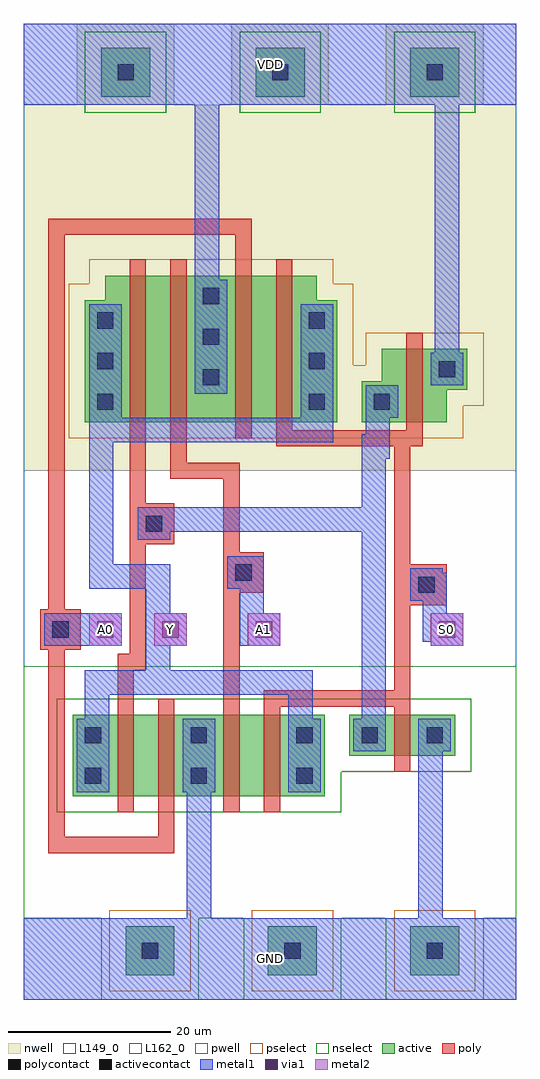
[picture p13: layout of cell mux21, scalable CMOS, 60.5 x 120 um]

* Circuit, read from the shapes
.subckt mux21 A0 A1 GND S0 VDD Y
M1 n1 n2 Y GND nfet w=10u l=2u
M2 GND A0 n1 GND nfet w=10u l=2u
M3 n3 A1 GND GND nfet w=10u l=2u
M4 Y S0 n3 GND nfet w=10u l=2u
M5 GND S0 n2 GND nfet w=5u l=2u
M6 n4 n2 Y VDD pfet w=18u l=2u
M7 VDD A1 n4 VDD pfet w=18u l=2u
M8 n5 A0 VDD VDD pfet w=18u l=2u
M9 Y S0 n5 VDD pfet w=18u l=2u
M10 VDD S0 n2 VDD pfet w=9u l=2u
.ends

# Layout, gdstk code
from math import pi, radians
import gdstk
lib = gdstk.Library(unit=1e-6, precision=1e-09)
def R(c, l, rs):  # rectangles x0, y0, x1, y1
    for r in rs: c.add(gdstk.rectangle(r[:2], r[2:], *l))
def A(c, l, x, y, w, h, nx, ny, dx, dy):  # array of equal rectangles
    R(c, l, [(x+i*dx, y+j*dy, x+i*dx+w, y+j*dy+h) for i in range(nx) for j in range(ny)])
def P(c, l, *ps):  # polygons
    for p in ps: c.add(gdstk.Polygon(p, *l))
pwell = (41, 0)
nwell = (42, 0)
active = (43, 0)
pselect = (44, 0)
nselect = (45, 0)
poly = (46, 0)
polycontact = (47, 0)
activecontact = (48, 0)
metal1 = (49, 0)
via1 = (50, 0)
metal2 = (51, 0)
L149_0 = (149, 0)
L162_0 = (162, 0)

nwell_contact = lib.new_cell('nwell_contact')
R(nwell_contact, nwell, [(-6,-5,6,6)])
R(nwell_contact, active, [(-3,-3,3,3)])
R(nwell_contact, nselect, [(-5,-5,5,5)])
R(nwell_contact, activecontact, [(-1,-1,1,1)])

pwell_contact = lib.new_cell('pwell_contact')
R(pwell_contact, pwell, [(-6,-6,6,5)])
R(pwell_contact, active, [(-3,-3,3,3)])
R(pwell_contact, pselect, [(-5,-5,5,5)])
R(pwell_contact, activecontact, [(-1,-1,1,1)])

via = lib.new_cell('via')
R(via, metal1, [(-2,-2,2,2)])
R(via, via1, [(-1,-1,1,1)])
R(via, metal2, [(-2,-2,2,2)])

mux21 = lib.new_cell('mux21')
R(mux21, pwell, [(0,10,60.5,20), (0,10,60.5,41), (0,19,43,41), (34,24,59,41)])
R(mux21, nwell, [(0,65,60.5,110), (0,95,60.5,110)])
P(mux21, nwell, [(60.5,69),(58,69),(58,65),(35.5,65),(35.5,82),(38,82),(38,86),(60.5,86)],
  [(44.5,65),(1.5,65),(1.5,92),(4,92),(4,95),(42,95),(42,92),(44.5,92)])
R(mux21, active, [(6,25,37,35), (40,30,53,35)])
P(mux21, active, [(54.5,75),(52,75),(52,71),(41.5,71),(41.5,76),(44,76),(44,80),(54.5,80)],
  [(38.5,71),(7.5,71),(7.5,86),(10,86),(10,89),(36,89),(36,86),(38.5,86)])
P(mux21, pselect, [(56.5,73),(54,73),(54,69),(39.5,69),(39.5,78),(42,78),(42,82),(56.5,82)],
  [(40.5,69),(5.5,69),(5.5,88),(8,88),(8,91),(38,91),(38,88),(40.5,88)])
R(mux21, nselect, [(4,23,39,37), (38,28,55,37)])
R(mux21, poly, [(11.5,23,13.5,25), (16.5,23,18.5,25), (24.5,23,26.5,25), (29.5,23,31.5,25), (11.5,25,13.5,35), (16.5,25,18.5,35), (24.5,25,26.5,35), (29.5,25,31.5,35), (45.5,28,47.5,30), (45.5,30,47.5,35), (11.5,35,13.5,37), (16.5,35,18.5,37), (24.5,35,26.5,37), (29.5,35,31.5,37), (45.5,35,47.5,37), (2,43,7,48), (47,48.5,52,53.5), (24.5,50,29.5,55), (13.5,56,18.5,61), (13,69,15,71), (18,69,20,71), (26,69,28,71), (31,69,33,71), (47,69,49,71), (13,71,15,89), (18,71,20,89), (26,71,28,89), (31,71,33,89), (47,71,49,80), (47,80,49,82), (13,89,15,91), (18,89,20,91), (26,89,28,91), (31,89,33,91)])
R(mux21, polycontact, [(3.5,44.5,5.5,46.5), (48.5,50,50.5,52), (26,51.5,28,53.5), (15,57.5,17,59.5)])
A(mux21, activecontact, 7.5, 26.5, 2, 2, 3, 2, 13, 5)
A(mux21, activecontact, 9, 72.5, 2, 2, 1, 3, 0, 5)
A(mux21, activecontact, 35, 72.5, 2, 2, 1, 3, 0, 5)
A(mux21, activecontact, 22, 75.5, 2, 2, 1, 3, 0, 5)
R(mux21, activecontact, [(41.5,31.5,43.5,33.5), (49.5,31.5,51.5,33.5), (43,72.5,45,74.5), (51,76.5,53,78.5)])
A(mux21, metal1, 6.5, 25.5, 4, 9, 3, 1, 13, 0)
R(mux21, metal1, [(0,0,60.5,10), (0,0,60.5,10), (40.5,30.5,44.5,34.5), (48.5,30.5,52.5,34.5), (2.5,43.5,6.5,47.5), (47.5,49,51.5,53), (25,50.5,29,54.5), (14,56.5,18,60.5), (8,71.5,12,85.5), (34,71.5,38,85.5), (42,71.5,46,75.5), (21,74.5,25,88.5), (50,75.5,54,79.5), (0,110,60.5,120), (0,110,60.5,120)])
R(mux21, metal2, [(8,43.5,12,47.5), (16,43.5,20,47.5), (27.5,43.5,31.5,47.5), (50,43.5,54,47.5)])
R(mux21, L149_0, [(0,0,60.5,10), (0,0,60.5,10), (0,0,60.5,120), (2.5,43.5,6.5,47.5), (47.5,49,51.5,53), (25,50.5,29,54.5), (14,56.5,18,60.5), (0,110,60.5,120), (0,110,60.5,120)])
R(mux21, L162_0, [(8,43.5,12,47.5), (16,43.5,20,47.5), (27.5,43.5,31.5,47.5), (50,43.5,54,47.5)])
mux21.add(gdstk.FlexPath([(50.5,52.5),(50.5,44)], 3, ends="flush", simple_path=True, layer=149, datatype=0))  # L149_0
mux21.add(gdstk.FlexPath([(9,34.5),(9,39),(34,39),(34,34.5)], 3, ends="flush", simple_path=True, layer=149, datatype=0))  # L149_0
mux21.add(gdstk.FlexPath([(21.5,25.5),(21.5,10)], 3, ends="flush", simple_path=True, layer=149, datatype=0))  # L149_0
mux21.add(gdstk.FlexPath([(43.5,71.5),(43.5,68),(43,68),(43,34.5)], 3, ends="flush", simple_path=True, layer=149, datatype=0))  # L149_0
mux21.add(gdstk.FlexPath([(22.5,88.5),(22.5,110)], 3, ends="flush", simple_path=True, layer=149, datatype=0))  # L149_0
mux21.add(gdstk.FlexPath([(6.5,45),(8,45)], 3, ends="flush", simple_path=True, layer=149, datatype=0))  # L149_0
mux21.add(gdstk.FlexPath([(18,59),(41.5,59)], 3, ends="flush", simple_path=True, layer=149, datatype=0))  # L149_0
mux21.add(gdstk.FlexPath([(9.5,68.5),(9.5,52),(16.5,52),(16.5,40.5)], 3, ends="flush", simple_path=True, layer=149, datatype=0))  # L149_0
mux21.add(gdstk.FlexPath([(9.5,71.5),(9.5,70),(36.5,70),(36.5,71.5)], 3, ends="flush", simple_path=True, layer=149, datatype=0))  # L149_0
mux21.add(gdstk.FlexPath([(28,43.5),(28,54.5)], 3, ends="flush", simple_path=True, layer=149, datatype=0))  # L149_0
mux21.add(gdstk.FlexPath([(6.5,46),(8,46)], 3, ends="flush", simple_path=True, layer=149, datatype=0))  # L149_0
mux21.add(gdstk.FlexPath([(52,79.5),(52,110)], 3, ends="flush", simple_path=True, layer=149, datatype=0))  # L149_0
mux21.add(gdstk.FlexPath([(50,30.5),(50,10)], 3, ends="flush", simple_path=True, layer=149, datatype=0))  # L149_0
mux21.add(gdstk.FlexPath([(19,69),(19,65),(25.5,65),(25.5,37)], 2, ends="flush", simple_path=True, layer=46, datatype=0))  # poly
mux21.add(gdstk.FlexPath([(27,91),(27,95),(4,95),(4,19),(17.5,19),(17.5,23)], 2, ends="flush", simple_path=True, layer=46, datatype=0))  # poly
mux21.add(gdstk.FlexPath([(14,69),(14,41.5),(12.5,41.5),(12.5,37)], 2, ends="flush", simple_path=True, layer=46, datatype=0))  # poly
mux21.add(gdstk.FlexPath([(46.5,69),(49,69)], 2, ends="flush", simple_path=True, layer=46, datatype=0))  # poly
mux21.add(gdstk.FlexPath([(29.5,37),(46.5,37),(46.5,69),(31,69)], 2, ends="flush", simple_path=True, layer=46, datatype=0))  # poly
mux21.add(gdstk.FlexPath([(50.5,52.5),(50.5,44)], 3, ends="flush", simple_path=True, layer=49, datatype=0))  # metal1
mux21.add(gdstk.FlexPath([(9,34.5),(9,39),(34,39),(34,34.5)], 3, ends="flush", simple_path=True, layer=49, datatype=0))  # metal1
mux21.add(gdstk.FlexPath([(21.5,25.5),(21.5,10)], 3, ends="flush", simple_path=True, layer=49, datatype=0))  # metal1
mux21.add(gdstk.FlexPath([(43.5,71.5),(43.5,68),(43,68),(43,34.5)], 3, ends="flush", simple_path=True, layer=49, datatype=0))  # metal1
mux21.add(gdstk.FlexPath([(22.5,88.5),(22.5,110)], 3, ends="flush", simple_path=True, layer=49, datatype=0))  # metal1
mux21.add(gdstk.FlexPath([(6.5,45),(8,45)], 3, ends="flush", simple_path=True, layer=49, datatype=0))  # metal1
mux21.add(gdstk.FlexPath([(18,59),(41.5,59)], 3, ends="flush", simple_path=True, layer=49, datatype=0))  # metal1
mux21.add(gdstk.FlexPath([(9.5,68.5),(9.5,52),(16.5,52),(16.5,40.5)], 3, ends="flush", simple_path=True, layer=49, datatype=0))  # metal1
mux21.add(gdstk.FlexPath([(9.5,71.5),(9.5,70),(36.5,70),(36.5,71.5)], 3, ends="flush", simple_path=True, layer=49, datatype=0))  # metal1
mux21.add(gdstk.FlexPath([(28,43.5),(28,54.5)], 3, ends="flush", simple_path=True, layer=49, datatype=0))  # metal1
mux21.add(gdstk.FlexPath([(6.5,46),(8,46)], 3, ends="flush", simple_path=True, layer=49, datatype=0))  # metal1
mux21.add(gdstk.FlexPath([(52,79.5),(52,110)], 3, ends="flush", simple_path=True, layer=49, datatype=0))  # metal1
mux21.add(gdstk.FlexPath([(50,30.5),(50,10)], 3, ends="flush", simple_path=True, layer=49, datatype=0))  # metal1
mux21.add(gdstk.Reference(nwell_contact, (31.5,114), rotation=pi, x_reflection=True))
mux21.add(gdstk.Reference(nwell_contact, (50.5,114)))
mux21.add(gdstk.Reference(nwell_contact, (12.5,114)))
mux21.add(gdstk.Reference(pwell_contact, (33,6), rotation=pi, x_reflection=True))
mux21.add(gdstk.Reference(pwell_contact, (50.5,6)))
mux21.add(gdstk.Reference(pwell_contact, (15.5,6)))
mux21.add(gdstk.Reference(via, (10,45.5)))
mux21.add(gdstk.Reference(via, (18,45.5)))
mux21.add(gdstk.Reference(via, (29.5,45.5)))
mux21.add(gdstk.Reference(via, (52,45.5), rotation=pi, x_reflection=True))
mux21.add(gdstk.Label('Y', (18,45.5), layer=3, texttype=0))
mux21.add(gdstk.Label('S0', (52,45.5), layer=3, texttype=0))
mux21.add(gdstk.Label('A1', (29.5,45.5), layer=3, texttype=0))
mux21.add(gdstk.Label('A0', (10,45.5), layer=3, texttype=0))
mux21.add(gdstk.Label('GND', (30.25,5), layer=2, texttype=0))
mux21.add(gdstk.Label('VDD', (30.25,115), layer=2, texttype=0))

lib.write_gds('mux21.gds')
